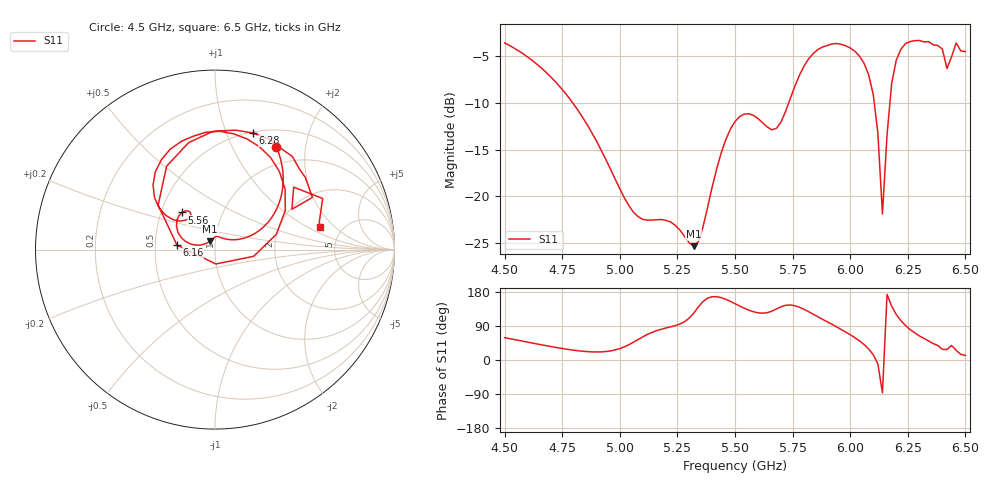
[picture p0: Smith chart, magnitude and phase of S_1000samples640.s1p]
! TOUCHSTONE file generated by CST MICROWAVE STUDIO
! Date and time: Fri Oct 28 21:09:14 2022
! Project name: L.cst
! Parameters = {Di=1.27; Epsilon_r=1.56; InnerDiameter=1.27; Length=2; Lf=10; Lg=60; OuterConductorThickness=0.2921; OuterDiameter=3.6; Wf=3; Wp=41.2; de=1.5; df=6.8; g=0.8; gx=2.07315; gy=2.27021; h=2.34; hf=1.524; px=13.8431; py=11.5941; w=9.7; wx=11.77; wy=9.32388}
! Header version: 2018
! Port assignment regex: !\s*Touchstone port\s*([0-9]+)\s*=\s*(CST MWS port|CST DS port)\s*([0-9]+|Zmin|Zmax)\s*\(\"(.*)\"\)(\s*mode\s*([0-9]+))?.*
! Touchstone port assignment:
! Touchstone port 1 = CST MWS port 1 ("")
# GHz S DB R 50
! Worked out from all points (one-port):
!   101 points, 4.5 GHz to 6.5 GHz, reference 50 ohm
!   lowest |S11| = -25.4 dB at 5.32 GHz (marker M1), VSWR 1.11, Z = 47 + j4.27 ohm
!   |S11| at or under -10 dB: 4.796 GHz to 5.733 GHz (937 MHz wide, 17.8 % of centre); 6.104 GHz to 6.172 GHz (67.88 MHz wide, 1.11 % of centre)
!   S11 on the Smith chart (normalised r, x): 4.5 GHz: 0.74, +1.50; 5.56 GHz: 0.64, +0.29; 6.16 GHz: 0.65, +0.04; 6.28 GHz: 0.51, +1.25; 6.5 GHz: 3.42, +1.31
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4.5  -3.55 59.0
4.76  -8.84 29.4
5  -19.20 30.0
5.08  -22.21 54.4
5.26  -23.61 94.8
5.32  -25.37 122.8
5.5  -11.99 148.7
5.56  -11.16 131.5
5.68  -12.72 134.7
5.76  -8.19 143.3
5.82  -5.24 127.4
5.88  -3.99 107.2
5.94  -3.61 87.7
6  -4.09 66.8
6.06  -5.74 40.9
6.1  -9.07 14.0
6.12  -13.20 -9.8
6.14  -21.91 -86.7
6.16  -13.39 173.0
6.18  -7.91 141.9
6.2  -5.40 120.1
6.26  -3.41 80.3
6.28  -3.31 71.9
6.4  -4.21 28.2
6.42  -6.30 27.7
6.44  -5.04 38.5
6.46  -3.56 25.4
6.5  -4.48 11.9
